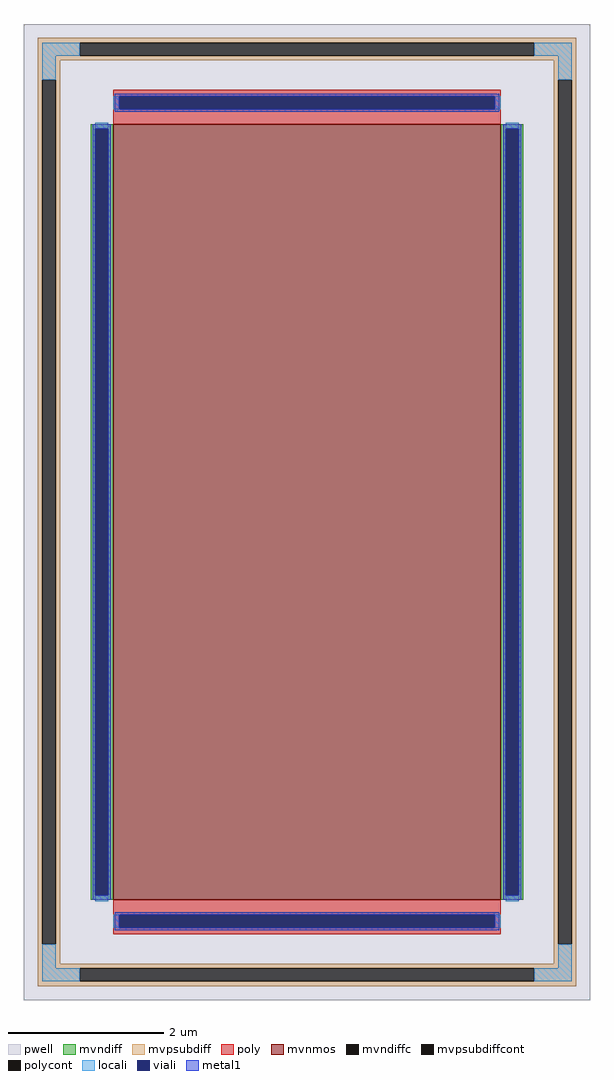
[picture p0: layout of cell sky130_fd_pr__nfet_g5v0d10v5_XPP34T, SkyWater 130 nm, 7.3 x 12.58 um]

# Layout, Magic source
magic
tech sky130A
magscale 1 2
<< pwell >>
rect -730 -1258 730 1258
<< mvnmos >>
rect -500 -1000 500 1000
<< mvndiff >>
rect -558 988 -500 1000
rect -558 -988 -546 988
rect -512 -988 -500 988
rect -558 -1000 -500 -988
rect 500 988 558 1000
rect 500 -988 512 988
rect 546 -988 558 988
rect 500 -1000 558 -988
<< mvndiffc >>
rect -546 -988 -512 988
rect 512 -988 546 988
<< mvpsubdiff >>
rect -694 1210 694 1222
rect -694 1176 -586 1210
rect 586 1176 694 1210
rect -694 1164 694 1176
rect -694 1114 -636 1164
rect -694 -1114 -682 1114
rect -648 -1114 -636 1114
rect 636 1114 694 1164
rect -694 -1164 -636 -1114
rect 636 -1114 648 1114
rect 682 -1114 694 1114
rect 636 -1164 694 -1114
rect -694 -1176 694 -1164
rect -694 -1210 -586 -1176
rect 586 -1210 694 -1176
rect -694 -1222 694 -1210
<< mvpsubdiffcont >>
rect -586 1176 586 1210
rect -682 -1114 -648 1114
rect 648 -1114 682 1114
rect -586 -1210 586 -1176
<< poly >>
rect -500 1072 500 1088
rect -500 1038 -484 1072
rect 484 1038 500 1072
rect -500 1000 500 1038
rect -500 -1038 500 -1000
rect -500 -1072 -484 -1038
rect 484 -1072 500 -1038
rect -500 -1088 500 -1072
<< polycont >>
rect -484 1038 484 1072
rect -484 -1072 484 -1038
<< locali >>
rect -682 1176 -586 1210
rect 586 1176 682 1210
rect -682 1114 -648 1176
rect 648 1114 682 1176
rect -500 1038 -484 1072
rect 484 1038 500 1072
rect -546 988 -512 1004
rect -546 -1004 -512 -988
rect 512 988 546 1004
rect 512 -1004 546 -988
rect -500 -1072 -484 -1038
rect 484 -1072 500 -1038
rect -682 -1176 -648 -1114
rect 648 -1176 682 -1114
rect -682 -1210 -586 -1176
rect 586 -1210 682 -1176
<< viali >>
rect -484 1038 484 1072
rect -546 -988 -512 988
rect 512 -988 546 988
rect -484 -1072 484 -1038
<< metal1 >>
rect -496 1072 496 1078
rect -496 1038 -484 1072
rect 484 1038 496 1072
rect -496 1032 496 1038
rect -552 988 -506 1000
rect -552 -988 -546 988
rect -512 -988 -506 988
rect -552 -1000 -506 -988
rect 506 988 552 1000
rect 506 -988 512 988
rect 546 -988 552 988
rect 506 -1000 552 -988
rect -496 -1038 496 -1032
rect -496 -1072 -484 -1038
rect 484 -1072 496 -1038
rect -496 -1078 496 -1072
<< properties >>
string FIXED_BBOX -665 -1193 665 1193
string gencell sky130_fd_pr__nfet_g5v0d10v5
string library sky130
string parameters w 10 l 5 m 1 nf 1 diffcov 100 polycov 100 guard 1 glc 1 grc 1 gtc 1 gbc 1 tbcov 100 rlcov 100 topc 1 botc 1 poverlap 0 doverlap 1 lmin 0.50 wmin 0.42 class mosfet compatible {sky130_fd_pr__nfet_01v8 sky130_fd_pr__nfet_01v8_lvt  sky130_fd_bs_flash__special_sonosfet_star  sky130_fd_pr__nfet_g5v0d10v5 sky130_fd_pr__nfet_05v0_nvt  sky130_fd_pr__nfet_03v3_nvt} full_metal 1 conn_gates 0 viasrc 100 viadrn 100 viagate 100 viagb 0 viagr 0 viagl 0 viagt 0 doports 1
<< end >>
